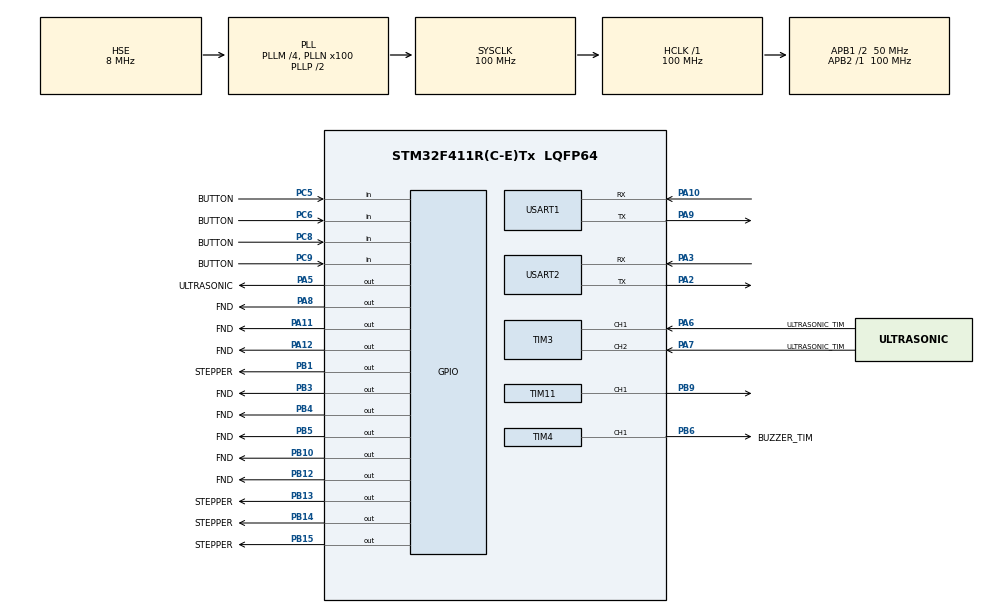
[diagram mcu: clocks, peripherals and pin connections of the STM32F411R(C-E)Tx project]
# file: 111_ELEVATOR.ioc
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Mcu.Family=STM32F4
Mcu.Name=STM32F411R(C-E)Tx
Mcu.Package=LQFP64
NVIC.PriorityGroup=NVIC_PRIORITYGROUP_4
PA10.Mode=Asynchronous
PA10.Signal=USART1_RX
PA11.GPIO_Label=FND
PA11.Signal=GPIO_Output
PA12.GPIO_Label=FND
PA12.Signal=GPIO_Output
PA13.Mode=Serial_Wire
PA13.Signal=SYS_JTMS-SWDIO
PA14.Mode=Serial_Wire
PA14.Signal=SYS_JTCK-SWCLK
PA2.Mode=Asynchronous
PA2.Signal=USART2_TX
PA3.Mode=Asynchronous
PA3.Signal=USART2_RX
PA5.GPIO_Label=ULTRASONIC
PA5.Signal=GPIO_Output
PA6.GPIO_Label=ULTRASONIC_TIM
PA6.Signal=S_TIM3_CH1
PA7.GPIO_Label=ULTRASONIC_TIM
PA7.Signal=S_TIM3_CH2
PA8.GPIO_Label=FND
PA8.Signal=GPIO_Output
PA9.Mode=Asynchronous
PA9.Signal=USART1_TX
PB1.GPIO_Label=STEPPER
PB1.Signal=GPIO_Output
PB10.GPIO_Label=FND
PB10.Signal=GPIO_Output
PB12.GPIO_Label=FND
PB12.Signal=GPIO_Output
PB13.GPIO_Label=STEPPER
PB13.Signal=GPIO_Output
PB14.GPIO_Label=STEPPER
PB14.Signal=GPIO_Output
PB15.GPIO_Label=STEPPER
PB15.Signal=GPIO_Output
PB3.GPIO_Label=FND
PB3.Signal=GPIO_Output
PB4.GPIO_Label=FND
PB4.Signal=GPIO_Output
PB5.GPIO_Label=FND
PB5.Signal=GPIO_Output
PB6.GPIO_Label=BUZZER_TIM
PB6.Signal=S_TIM4_CH1
PB9.Signal=S_TIM11_CH1
PC5.GPIO_Label=BUTTON
PC5.Signal=GPIO_Input
PC6.GPIO_Label=BUTTON
PC6.Signal=GPIO_Input
PC8.GPIO_Label=BUTTON
PC8.Signal=GPIO_Input
PC9.GPIO_Label=BUTTON
PC9.Signal=GPIO_Input
PH0\ -\ OSC_IN.Mode=HSE-External-Clock-Source
PH0\ -\ OSC_IN.Signal=RCC_OSC_IN
PH1\ -\ OSC_OUT.Mode=HSE-External-Clock-Source
PH1\ -\ OSC_OUT.Signal=RCC_OSC_OUT
ProjectManager.HeapSize=0x200
ProjectManager.StackSize=0x400
ProjectManager.TargetToolchain=STM32CubeIDE
RCC.48MHZClocksFreq_Value=50000000
RCC.AHBFreq_Value=100000000
RCC.APB1CLKDivider=RCC_HCLK_DIV2
RCC.APB1Freq_Value=50000000
RCC.APB1TimFreq_Value=100000000
RCC.APB2Freq_Value=100000000
RCC.APB2TimFreq_Value=100000000
RCC.CortexFreq_Value=100000000
RCC.HCLKFreq_Value=100000000
RCC.HSE_VALUE=8000000
RCC.HSI_VALUE=16000000
RCC.LSE_VALUE=32768
RCC.PLLM=4
RCC.PLLN=100
RCC.PLLSourceVirtual=RCC_PLLSOURCE_HSE
RCC.RCC_RTC_Clock_Source=RCC_RTCCLKSOURCE_LSI
RCC.SYSCLKFreq_VALUE=100000000
RCC.SYSCLKSource=RCC_SYSCLKSOURCE_PLLCLK
RCC.VCOOutputFreq_Value=200000000
SH.S_TIM11_CH1.0=TIM11_CH1,PWM Generation1 CH1
SH.S_TIM3_CH1.0=TIM3_CH1,Input_Capture1_from_TI1
SH.S_TIM3_CH2.0=TIM3_CH2,Input_Capture2_from_TI2
SH.S_TIM4_CH1.0=TIM4_CH1,PWM Generation1 CH1
TIM11.Channel=TIM_CHANNEL_1
TIM11.Period=20000-1
TIM11.Prescaler=100-1
TIM11.Pulse=500
TIM3.Channel-Input_Capture1_from_TI1=TIM_CHANNEL_1
TIM3.Channel-Input_Capture2_from_TI2=TIM_CHANNEL_2
TIM4.Channel-PWM\ Generation1\ CH1=TIM_CHANNEL_1
TIM4.Period=1000-1
TIM4.Prescaler=2000-1
TIM4.Pulse-PWM\ Generation1\ CH1=500
USART1.VirtualMode=VM_ASYNC
USART2.VirtualMode=VM_ASYNC
VP_TIM11_VS_ClockSourceINT.Mode=Enable_Timer
VP_TIM3_VS_ClockSourceINT.Mode=Internal
VP_TIM4_VS_ClockSourceINT.Mode=Internal
board=custom

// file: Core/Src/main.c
/* USER CODE BEGIN Header */
/**
  ******************************************************************************
  * @file           : main.c
  * @brief          : Main program body
  ******************************************************************************
  * @attention
  *
  * Copyright (c) 2026 STMicroelectronics.
  * All rights reserved.
  *
  * This software is licensed under terms that can be found in the LICENSE file
  * in the root directory of this software component.
  * If no LICENSE file comes with this software, it is provided AS-IS.
  *
  ******************************************************************************
  */
/* USER CODE END Header */
#include "main.h"
#include "tim.h"
#include "usart.h"
#include "gpio.h"

/* USER CODE BEGIN Includes */
#include "fnd.h"
#include "buzzer.h"
#include "door.h"
/* USER CODE END Includes */

/* USER CODE BEGIN PTD */

enum elevator_floor{
	First_floor = 1,
	Second_floor,
	Third_floor,
	fourth
};
uint8_t flag = 0;

/* USER CODE END PTD */

void SystemClock_Config(void);

int main(void)
{

  /* MCU Configuration--------------------------------------------------------*/

  /* Reset of all peripherals, Initializes the Flash interface and the Systick. */
  HAL_Init();

  /* Configure the system clock */
  SystemClock_Config();

  /* Initialize all configured peripherals */
  MX_GPIO_Init();
  MX_TIM3_Init();
  MX_TIM4_Init();
  MX_TIM11_Init();
  MX_USART1_UART_Init();
  MX_USART2_UART_Init();
  /* USER CODE BEGIN 2 */

  HAL_TIM_PWM_Start(&htim11, TIM_CHANNEL_1);

  /* USER CODE END 2 */

  /* Infinite loop */
  /* USER CODE BEGIN WHILE */
  while (1)
  {
	  update_buzzer_nonblocking();
	  update_door_nonblocking();

	  if(HAL_GPIO_ReadPin(GPIOC, GPIO_PIN_9) != GPIO_PIN_SET)
	  {
		  fourth_floor_fnd();

		  open_door_request();

		  flag = fourth;
	  }
	  else if((HAL_GPIO_ReadPin(GPIOC, GPIO_PIN_8) != GPIO_PIN_SET) && (flag != Third_floor))
	  {
		  third_floor_fnd();

		  start_floor_buzzer(255);

		  open_door_request();

  		  flag = Third_floor;
	  }
	  else if((HAL_GPIO_ReadPin(GPIOC, GPIO_PIN_6) != GPIO_PIN_SET) && (flag != Second_floor))
	  {
		  second_floor_fnd();

		  start_floor_buzzer(304);

		  open_door_request();

		  flag = Second_floor;
	  }
	  else if((HAL_GPIO_ReadPin(GPIOC, GPIO_PIN_5) != GPIO_PIN_SET) && (flag != First_floor))
	  {
		  first_floor_fnd();

		  start_floor_buzzer(383);

		  open_door_request();

		  flag = First_floor;
	  }
    /* USER CODE END WHILE */

  }
}

void SystemClock_Config(void)
{
  RCC_OscInitTypeDef RCC_OscInitStruct = {0};
  RCC_ClkInitTypeDef RCC_ClkInitStruct = {0};

  /** Configure the main internal regulator output voltage
  */
  __HAL_RCC_PWR_CLK_ENABLE();
  __HAL_PWR_VOLTAGESCALING_CONFIG(PWR_REGULATOR_VOLTAGE_SCALE1);

  /** Initializes the RCC Oscillators according to the specified parameters
  * in the RCC_OscInitTypeDef structure.
  */
  RCC_OscInitStruct.OscillatorType = RCC_OSCILLATORTYPE_HSE;
  RCC_OscInitStruct.HSEState = RCC_HSE_BYPASS;
  RCC_OscInitStruct.PLL.PLLState = RCC_PLL_ON;
  RCC_OscInitStruct.PLL.PLLSource = RCC_PLLSOURCE_HSE;
  RCC_OscInitStruct.PLL.PLLM = 4;
  RCC_OscInitStruct.PLL.PLLN = 100;
  RCC_OscInitStruct.PLL.PLLP = RCC_PLLP_DIV2;
  RCC_OscInitStruct.PLL.PLLQ = 4;
  if (HAL_RCC_OscConfig(&RCC_OscInitStruct) != HAL_OK)
  {
    Error_Handler();
  }

  /** Initializes the CPU, AHB and APB buses clocks
  */
  RCC_ClkInitStruct.ClockType = RCC_CLOCKTYPE_HCLK|RCC_CLOCKTYPE_SYSCLK
                              |RCC_CLOCKTYPE_PCLK1|RCC_CLOCKTYPE_PCLK2;
  RCC_ClkInitStruct.SYSCLKSource = RCC_SYSCLKSOURCE_PLLCLK;
  RCC_ClkInitStruct.AHBCLKDivider = RCC_SYSCLK_DIV1;
  RCC_ClkInitStruct.APB1CLKDivider = RCC_HCLK_DIV2;
  RCC_ClkInitStruct.APB2CLKDivider = RCC_HCLK_DIV1;

  if (HAL_RCC_ClockConfig(&RCC_ClkInitStruct, FLASH_LATENCY_3) != HAL_OK)
  {
    Error_Handler();
  }
}

void Error_Handler(void)
{
  __disable_irq();
  while (1)
  {
  }
}
